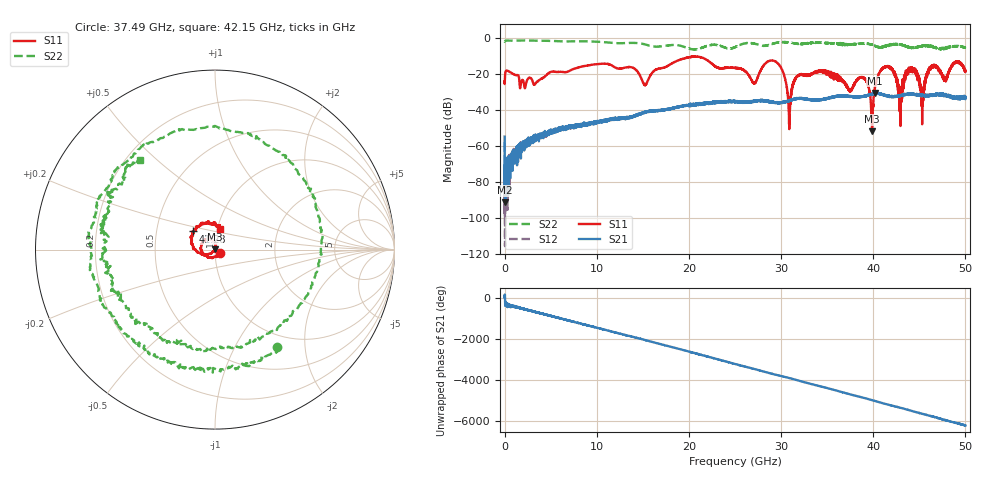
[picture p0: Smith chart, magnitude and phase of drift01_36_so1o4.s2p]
!Created with skrf (http://scikit-rf.org).
# Hz S RI R 50.0
!freq ReS11 ImS11 ReS21 ImS21 ReS12 ImS12 ReS22 ImS22
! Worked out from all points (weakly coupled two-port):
!   10001 points, 300 kHz to 50 GHz, reference 50 ohm
!   highest |S21| = -30.61 dB at 40.19 GHz (marker M1); lowest = -91.4 dB at 75.3 MHz (marker M2)
!   lowest |S11| = -52.0 dB at 39.87 GHz (marker M3), VSWR 1.01, Z = 49.8 + j0.167 ohm
!   |S11| at or under -10 dB: start of sweep to end of sweep
!   |S22| runs from -6.5 to -1.4 dB; largest |S21 - S12| = 0.0039
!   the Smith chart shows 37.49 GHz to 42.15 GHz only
!   S11 on the Smith chart (normalised r, x): 37.49 GHz: 1.05, -0.04; 41.28 GHz: 0.76, +0.16; 42.15 GHz: 1.03, +0.24
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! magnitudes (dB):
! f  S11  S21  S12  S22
! 300 kHz  -24.0  -54.9  -58.3  -2.1
! 75.3 MHz  -19.4  -91.4  -74.5  -1.5
! 8.335 GHz  -15.9  -48.1  -48.1  -1.8
! 16.67 GHz  -17.1  -40.2  -40.3  -4.8
! 25 GHz  -16.6  -35.4  -35.5  -5.1
! 27.1 GHz  -25.4  -35.4  -35.2  -3.2
! 29.43 GHz  -13.2  -35.9  -36.0  -2.8
! 30.91 GHz  -44.2  -34.9  -34.7  -2.5
! 31.66 GHz  -21.6  -33.7  -33.8  -3.2
! 33.34 GHz  -19.9  -34.4  -34.5  -2.7
! 37.49 GHz  -29.6  -32.3  -32.4  -3.8
! 38.95 GHz  -22.0  -32.5  -32.4  -3.1
! 39.87 GHz  -52.0  -31.1  -31.2  -3.8
! 40.19 GHz  -27.4  -30.6  -30.9  -4.4
! 41.28 GHz  -15.9  -31.7  -31.8  -4.4
! 41.67 GHz  -16.0  -32.1  -32.4  -4.4
! 42.15 GHz  -18.5  -32.5  -32.6  -3.8
! 42.92 GHz  -34.2  -32.2  -32.2  -3.6
! 44.07 GHz  -16.9  -31.1  -31.2  -5.3
! 45.31 GHz  -48.0  -31.9  -32.1  -4.4
! 46.38 GHz  -15.7  -31.6  -31.8  -4.5
! 50 GHz  -18.7  -33.0  -32.9  -5.3
